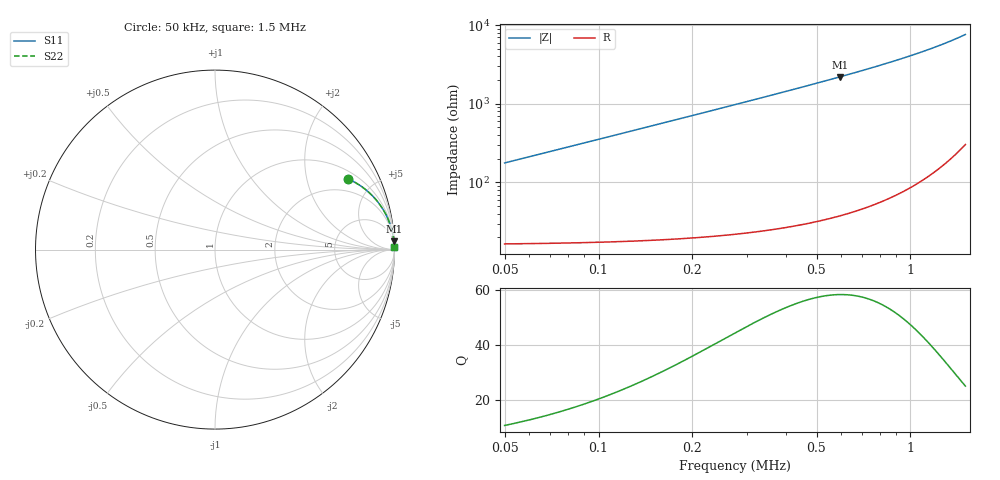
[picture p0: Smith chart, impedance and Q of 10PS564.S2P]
! Coilcraft 1008PS-564 Power Chip Inductor
! 7 October 2002
# MHZ S MA R 50
!Freq  MagS11  AngS11  MagS21  AngS21  MagS12  AngS12  MagS22  AngS22
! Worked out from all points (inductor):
!   402 points, 50 kHz to 1.5 MHz, reference 50 ohm
!   read as one part in series: L = 561 uH near 57.24 kHz
!   highest Q = 58.5 at 593 kHz (marker M1), where L = 588 uH
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0.05  0.8375 28.1  0.4738 -56.5  0.4738 -56.5  0.8375 28.1
0.05724  0.8684 25.3  0.4295 -59.9  0.4295 -59.9  0.8684 25.3
0.0681  0.9012 22.0  0.375 -64.0  0.375 -64.0  0.9012 22.0
0.07896  0.9235 19.3  0.3315 -67.2  0.3315 -67.2  0.9235 19.3
0.09706  0.9471 16.0  0.2766 -71.1  0.2766 -71.1  0.9471 16.0
0.11878  0.9635 13.3  0.2299 -74.3  0.2299 -74.3  0.9635 13.3
0.13688  0.972 11.6  0.2012 -76.3  0.2012 -76.3  0.972 11.6
0.15498  0.9779 10.3  0.1786 -77.8  0.1786 -77.8  0.9779 10.3
0.1948  0.9857 8.2  0.143 -80.2  0.143 -80.2  0.9857 8.2
0.24186  0.9905 6.6  0.1154 -82.0  0.1154 -82.0  0.9905 6.6
0.29254  0.9934 5.5  0.09537 -83.3  0.09537 -83.3  0.9934 5.5
0.34322  0.9951 4.6  0.08107 -84.2  0.08107 -84.2  0.9951 4.6
0.40114  0.9963 4.0  0.06904 -85.0  0.06904 -85.0  0.9963 4.0
0.4663  0.9972 3.4  0.05898 -85.6  0.05898 -85.6  0.9972 3.4
0.53508  0.9978 2.9  0.05093 -86.1  0.05093 -86.1  0.9978 2.9
0.593  0.9982 2.6  0.04555 -86.4  0.04555 -86.4  0.9982 2.6
0.67988  0.9986 2.2  0.03912 -86.8  0.03912 -86.8  0.9986 2.2
0.77762  0.9988 1.9  0.03351 -87.1  0.03351 -87.1  0.9988 1.9
0.88984  0.999 1.6  0.02848 -87.3  0.02848 -87.3  0.999 1.6
1.02016  0.9992 1.4  0.0239 -87.4  0.0239 -87.4  0.9992 1.4
1.25908  0.9993 1.0  0.01771 -87.4  0.01771 -87.4  0.9993 1.0
1.5  0.9994 0.8  0.01316 -87.0  0.01316 -87.0  0.9994 0.8
